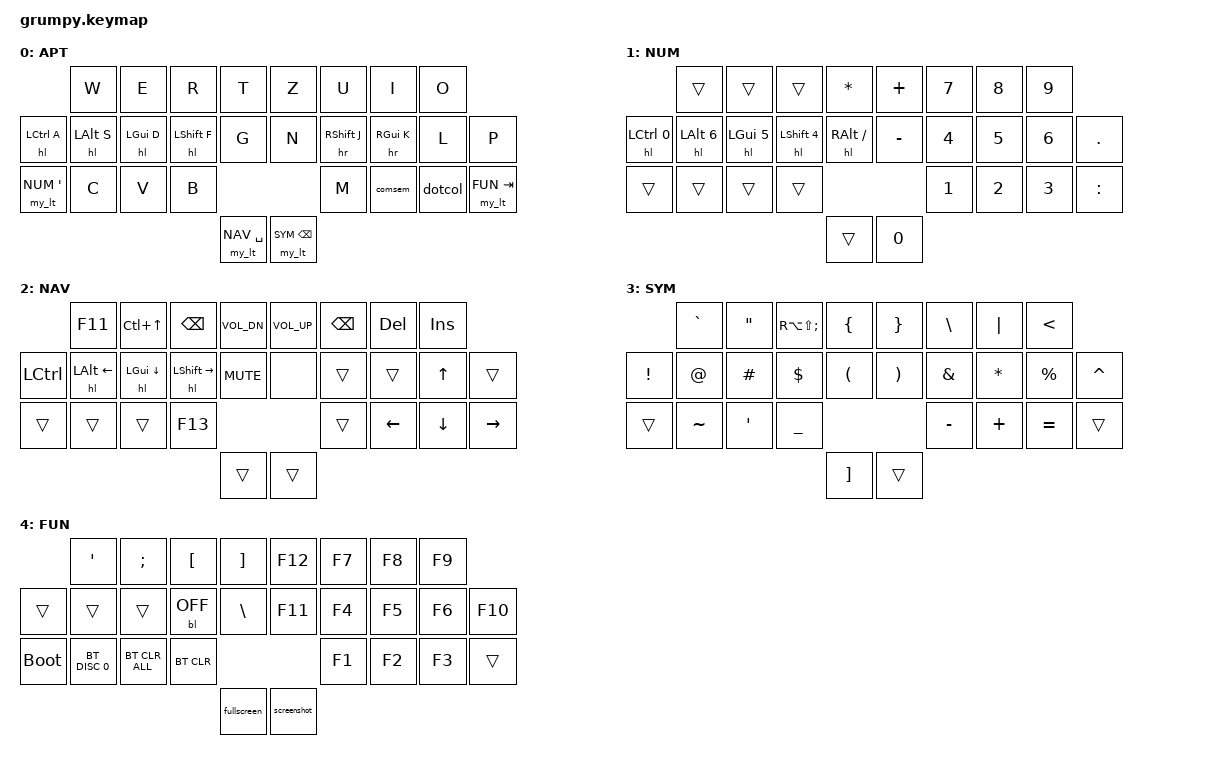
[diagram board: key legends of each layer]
#include "base_grumpy.h"
#include <behaviors.dtsi>
#include <dt-bindings/zmk/backlight.h>
#include <dt-bindings/zmk/bt.h>
#include <dt-bindings/zmk/keys.h>

//   ____________________________  ____________________________
//  /       0  |  1  |  2  |  3  \/   4 |   5 |   6 |   7      \
// |  8  |  9  | 10  | 11  | 12  /\  13 |  14 |  15 |  16 | 17  |
// | 19  | 19  | 20  | 21       /  \       22 |  23 |  24 | 25  |
//                      \  26  /    \  27  /
//                       ------      ------

/ {
    macros {
        fullscreen: new_macro {
            compatible = "zmk,behavior-macro";
            #binding-cells = <0>;
            bindings = <&kp LC(RA(LG(M)))>;
            label = "NEW_MACRO";
        };

        screenshot: screenshot {
            compatible = "zmk,behavior-macro";
            #binding-cells = <0>;
            bindings = <&kp LG(LS(NUMBER_4))>;
            label = "SCREENSHOT";
        };

        mission: mission {
            compatible = "zmk,behavior-macro";
            #binding-cells = <0>;
            bindings = <&kp LC(UP_ARROW)>;
            label = "MISSION";
        };
    };

    keymap {
        compatible = "zmk,keymap";

        aptmak {
            label = "APT";
            bindings = <
                &kp W       &kp E       &kp R        &kp T             &kp Z                 &kp U        &kp I       &kp O
&hl LCTRL A     &hl LALT S  &hl LGUI D  &hl LSHFT F  &kp G             &kp N                 &hr RSHFT J  &hr RGUI K  &kp L    &kp P
&my_lt NUM SQT  &kp C       &kp V       &kp B                                                &kp M        &comsem     &dotcol  &my_lt FUN TAB
                                                     &my_lt NAV SPACE  &my_lt SYM BACKSPACE
            >;
        };

        numbers {
            label = "NUM";
            bindings = <
              &trans       &trans       &trans        &kp ASTERISK    &kp PLUS   &kp N7  &kp N8  &kp N9
&hl LCTRL N0  &hl LALT N6  &hl LGUI N5  &hl LSHFT N4  &hl RALT SLASH  &kp MINUS  &kp N4  &kp N5  &kp N6  &kp DOT
&trans        &trans       &trans       &trans                                   &kp N1  &kp N2  &kp N3  &kp COLON
                                                      &trans          &kp N0
            >;
        };

        navigation {
            label = "NAV";
            bindings = <
           &kp F11        &kp LC(UP)     &kp BSPC         &kp C_VOL_DN  &kp C_VOL_UP  &kp BSPC  &kp DEL         &kp INSERT
&kp LCTRL  &hl LALT LEFT  &hl LGUI DOWN  &hl LSHFT RIGHT  &kp C_MUTE    &none         &trans    &trans          &kp UP          &trans
&trans     &trans         &trans         &kp F13                                      &trans    &kp LEFT_ARROW  &kp DOWN_ARROW  &kp RIGHT_ARROW
                                                          &trans        &trans
            >;
        };

        symbols {
            label = "SYM";
            bindings = <
          &kp GRAVE  &kp DQT   &kp RA(LS(SEMI))  &kp LBRC  &kp RBRC  &kp BACKSLASH  &kp PIPE      &kp LT
&kp EXCL  &kp AT     &kp HASH  &kp DOLLAR        &kp LPAR  &kp RPAR  &kp AMPERSAND  &kp ASTERISK  &kp PERCENT  &kp CARET
&trans    &kp TILDE  &kp SQT   &kp UNDERSCORE                        &kp MINUS      &kp PLUS      &kp EQUAL    &trans
                                                 &kp RBKT  &trans
            >;
        };

        function {
            label = "FUN";
            bindings = <
             &kp SQT        &kp SEMICOLON   &kp LEFT_BRACKET  &kp RIGHT_BRACKET  &kp F12      &kp F7  &kp F8  &kp F9
&trans       &trans         &trans          &bl BL_OFF        &kp BACKSLASH      &kp F11      &kp F4  &kp F5  &kp F6  &kp F10
&bootloader  &bt BT_DISC 0  &bt BT_CLR_ALL  &bt BT_CLR                                        &kp F1  &kp F2  &kp F3  &trans
                                                              &fullscreen        &screenshot
            >;
        };
    };
};
